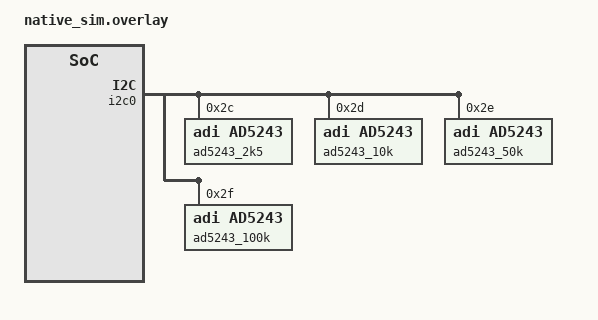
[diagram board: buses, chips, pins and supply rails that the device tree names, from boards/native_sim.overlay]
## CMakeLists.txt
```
# Copyright (c) 2026 Analog Devices Inc.
# SPDX-License-Identifier: Apache-2.0

cmake_minimum_required(VERSION 3.20.0)

find_package(Zephyr REQUIRED HINTS $ENV{ZEPHYR_BASE})
project(ad524x)

target_sources(app PRIVATE src/main.c src/ad524x_emul.c)
```

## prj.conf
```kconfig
CONFIG_ZTEST=y
CONFIG_DAC=y
CONFIG_I2C=y
CONFIG_EMUL=y
CONFIG_I2C_EMUL=y
CONFIG_LOG=y
CONFIG_DAC_LOG_LEVEL_DBG=y
CONFIG_ASSERT=y
```

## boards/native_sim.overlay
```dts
/*
 * Copyright (c) 2026 Analog Devices Inc.
 *
 * SPDX-License-Identifier: Apache-2.0
 */

#include <zephyr/dt-bindings/dac/ad524x.h>

&i2c0 {
	status = "okay";

	ad5243_2k5: ad5243@2c {
		compatible = "adi,ad5243";
		reg = <0x2c>;
		#io-channel-cells = <1>;
		max-resistance = <AD524X_RESISTANCE_2K5>;
		status = "okay";
	};

	ad5243_10k: ad5243@2d {
		compatible = "adi,ad5243";
		reg = <0x2d>;
		#io-channel-cells = <1>;
		max-resistance = <AD524X_RESISTANCE_10K>;
		status = "okay";
	};

	ad5243_50k: ad5243@2e {
		compatible = "adi,ad5243";
		reg = <0x2e>;
		#io-channel-cells = <1>;
		max-resistance = <AD524X_RESISTANCE_50K>;
		status = "okay";
	};

	ad5243_100k: ad5243@2f {
		compatible = "adi,ad5243";
		reg = <0x2f>;
		#io-channel-cells = <1>;
		max-resistance = <AD524X_RESISTANCE_100K>;
		status = "okay";
	};
};
```

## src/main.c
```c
/*
 * Copyright (c) 2026 Analog Devices Inc.
 *
 * SPDX-License-Identifier: Apache-2.0
 *
 * Tests for the AD5243/AD5248 digital potentiometer driver. The driver takes a
 * target wiper resistance in ohms and converts it to an 8-bit wiper code using
 *
 *   code = round((target - R_W) * 256 / R_AB),  clamped to [0, 255]
 *
 * where R_W is the fixed wiper resistance (320 ohms) and R_AB is the device
 * end-to-end resistance. The realized resistance is
 *
 *   R_WB = code / 256 * R_AB + R_W
 *
 * These tests drive the public DAC API and read the captured code back from the
 * emulator to check that each channel reaches the requested resistance to within
 * half a least-significant bit across the full 8-bit range and all four R_AB
 * variants.
 */

#include <zephyr/device.h>
#include <zephyr/drivers/dac.h>
#include <zephyr/drivers/dac/ad524x.h>
#include <zephyr/drivers/emul.h>
#include <zephyr/ztest.h>

#include "ad524x_emul.h"

/* Mirrors the driver's fixed wiper resistance and code range. */
#define AD524X_WIPER_OHM  320U
#define AD524X_STEPS      256U
#define AD524X_CODE_MAX   255U
#define AD524X_RESOLUTION 8U

struct ad524x_variant {
	const char *name;
	const struct device *dev;
	const struct emul *emul;
	uint32_t rab_ohm;
};

#define AD524X_VARIANT(nodelabel, rab)                                                              \
	{                                                                                          \
		.name = #nodelabel,                                                                 \
		.dev = DEVICE_DT_GET(DT_NODELABEL(nodelabel)),                                      \
		.emul = EMUL_DT_GET(DT_NODELABEL(nodelabel)),                                       \
		.rab_ohm = (rab),                                                                   \
	}

static struct ad524x_variant variants[] = {
	AD524X_VARIANT(ad5243_2k5, 2500U),
	AD524X_VARIANT(ad5243_10k, 10000U),
	AD524X_VARIANT(ad5243_50k, 50000U),
	AD524X_VARIANT(ad5243_100k, 100000U),
};

/* Reference conversion, computed independently of the driver. */
static uint8_t expected_code(uint32_t rab_ohm, uint32_t target_ohm)
{
	uint32_t code;

	if (target_ohm < AD524X_WIPER_OHM) {
		target_ohm = AD524X_WIPER_OHM;
	}

	code = (uint32_t)(((uint64_t)(target_ohm - AD524X_WIPER_OHM) * AD524X_STEPS + rab_ohm / 2) /
			  rab_ohm);

	return (uint8_t)MIN(code, AD524X_CODE_MAX);
}

/* Realized wiper-to-terminal-B resistance for a given code. */
static uint32_t code_to_ohm(uint32_t rab_ohm, uint8_t code)
{
	return (uint32_t)(((uint64_t)code * rab_ohm) / AD524X_STEPS) + AD524X_WIPER_OHM;
}

static void *ad524x_setup(void)
{
	for (size_t i = 0; i < ARRAY_SIZE(variants); i++) {
		zassert_true(device_is_ready(variants[i].dev), "%s not ready",
			     variants[i].name);
	}

	return NULL;
}

/* Every variant must be configurable on both channels at 8-bit resolution. */
ZTEST(ad524x, test_channel_setup)
{
	for (size_t i = 0; i < ARRAY_SIZE(variants); i++) {
		for (uint8_t ch = 1; ch <= 2; ch++) {
			struct dac_channel_cfg cfg = {
				.channel_id = ch,
				.resolution = AD524X_RESOLUTION,
			};
			int ret = dac_channel_setup(variants[i].dev, &cfg);

			zassert_ok(ret, "%s ch%u setup failed (%d)", variants[i].name, ch, ret);
		}
	}
}

/* A non-8-bit resolution must be rejected. */
ZTEST(ad524x, test_channel_setup_bad_resolution)
{
	struct dac_channel_cfg cfg = {
		.channel_id = 1,
		.resolution = 12,
	};

	zassert_equal(dac_channel_setup(variants[0].dev, &cfg), -EINVAL,
		      "non-8-bit resolution should be rejected");
}

/* Channel ids outside [1, 2] must be rejected by both API entry points. */
ZTEST(ad524x, test_invalid_channel)
{
	const struct device *dev = variants[0].dev;
	struct dac_channel_cfg cfg = {
		.channel_id = 0,
		.resolution = AD524X_RESOLUTION,
	};

	zassert_equal(dac_channel_setup(dev, &cfg), -EINVAL, "channel 0 setup should fail");

	cfg.channel_id = 3;
	zassert_equal(dac_channel_setup(dev, &cfg), -EINVAL, "channel 3 setup should fail");

	zassert_equal(dac_write_value(dev, 0, 1000), -EINVAL, "channel 0 write should fail");
	zassert_equal(dac_write_value(dev, 3, 1000), -EINVAL, "channel 3 write should fail");
}

/*
 * The core accuracy check: sweep a set of target resistances spanning each
 * variant's range and confirm the driver programs the nearest 8-bit code and
 * lands within half an LSB of the request.
 */
ZTEST(ad524x, test_resistance_accuracy)
{
	for (size_t i = 0; i < ARRAY_SIZE(variants); i++) {
		const struct ad524x_variant *v = &variants[i];
		/* Half an LSB in ohms, rounded up, is the worst-case quantization error. */
		uint32_t half_lsb = DIV_ROUND_UP(v->rab_ohm, 2U * AD524X_STEPS);
		/*
		 * Full-scale R_AB would need code 256, which the 8-bit range cannot
		 * reach, so the sweep spans only the achievable window
		 * [R_W, R_W + 255/256 * R_AB]. Out-of-range targets are covered by
		 * test_saturation.
		 */
		uint32_t span_ohm = code_to_ohm(v->rab_ohm, AD524X_CODE_MAX) - AD524X_WIPER_OHM;

		/* Ten evenly spaced targets across the achievable window. */
		for (uint32_t step = 0; step <= 10U; step++) {
			uint32_t target = AD524X_WIPER_OHM + (span_ohm * step) / 10U;
			uint8_t want = expected_code(v->rab_ohm, target);
			uint8_t got;
			uint32_t realized;
			int ret;

			ret = dac_write_value(v->dev, 1, target);
			zassert_ok(ret, "%s write %u ohm failed (%d)", v->name, target, ret);

			ret = ad524x_emul_get_code(v->emul, 1, &got);
			zassert_ok(ret, "%s code read failed (%d)", v->name, ret);
			zassert_equal(got, want, "%s target %u ohm: code %u, expected %u",
				      v->name, target, got, want);

			realized = code_to_ohm(v->rab_ohm, got);
			zassert_true(realized <= target + half_lsb &&
					     target <= realized + half_lsb,
				     "%s target %u ohm: realized %u ohm exceeds half-LSB %u",
				     v->name, target, realized, half_lsb);
		}
	}
}

/* Every code from 0 to 255 must be reachable by requesting its nominal resistance. */
ZTEST(ad524x, test_full_code_range)
{
	for (size_t i = 0; i < ARRAY_SIZE(variants); i++) {
		const struct ad524x_variant *v = &variants[i];

		for (uint32_t code = 0; code <= AD524X_CODE_MAX; code++) {
			uint32_t target = code_to_ohm(v->rab_ohm, (uint8_t)code);
			uint8_t got;
			int ret;

			ret = dac_write_value(v->dev, 2, target);
			zassert_ok(ret, "%s write code %u failed (%d)", v->name, code, ret);

			ret = ad524x_emul_get_code(v->emul, 2, &got);
			zassert_ok(ret, "%s code read failed (%d)", v->name, ret);
			zassert_equal(got, (uint8_t)code,
				      "%s nominal %u ohm: code %u, expected %u", v->name, target,
				      got, code);
		}
	}
}

/* Requests below the wiper floor clamp to code 0; requests above R_AB clamp to 255. */
ZTEST(ad524x, test_saturation)
{
	for (size_t i = 0; i < ARRAY_SIZE(variants); i++) {
		const struct ad524x_variant *v = &variants[i];
		uint8_t got;
		int ret;

		/* Below the 320 ohm wiper floor -> minimum code. */
		ret = dac_write_value(v->dev, 1, 0);
		zassert_ok(ret, "%s write 0 ohm failed (%d)", v->name, ret);
		ret = ad524x_emul_get_code(v->emul, 1, &got);
		zassert_ok(ret, "%s code read failed (%d)", v->name, ret);
		zassert_equal(got, 0, "%s below floor: code %u, expected 0", v->name, got);

		/* Well above end-to-end resistance -> maximum code. */
		ret = dac_write_value(v->dev, 1, v->rab_ohm * 2U);
		zassert_ok(ret, "%s write over-range failed (%d)", v->name, ret);
		ret = ad524x_emul_get_code(v->emul, 1, &got);
		zassert_ok(ret, "%s code read failed (%d)", v->name, ret);
		zassert_equal(got, AD524X_CODE_MAX, "%s over-range: code %u, expected %u",
			      v->name, got, AD524X_CODE_MAX);
	}
}

/* The two channels must be programmable independently. */
ZTEST(ad524x, test_channels_independent)
{
	const struct ad524x_variant *v = &variants[1]; /* 10k */
	uint32_t target_ch1 = v->rab_ohm / 4U + AD524X_WIPER_OHM;
	uint32_t target_ch2 = (3U * v->rab_ohm) / 4U + AD524X_WIPER_OHM;
	uint8_t code1, code2;

	zassert_ok(dac_write_value(v->dev, 1, target_ch1), "ch1 write failed");
	zassert_ok(dac_write_value(v->dev, 2, target_ch2), "ch2 write failed");

	zassert_ok(ad524x_emul_get_code(v->emul, 1, &code1), "ch1 read failed");
	zassert_ok(ad524x_emul_get_code(v->emul, 2, &code2), "ch2 read failed");

	zassert_equal(code1, expected_code(v->rab_ohm, target_ch1), "ch1 code mismatch");
	zassert_equal(code2, expected_code(v->rab_ohm, target_ch2), "ch2 code mismatch");
	zassert_not_equal(code1, code2, "channels should hold distinct codes");
}

/* Enabling and disabling shutdown sets and clears the device-wide shutdown bit. */
ZTEST(ad524x, test_shutdown_toggle)
{
	const struct ad524x_variant *v = &variants[1]; /* 10k */
	bool shutdown;

	zassert_ok(dac_ad524x_shutdown(v->dev, true), "enter shutdown failed");
	zassert_ok(ad524x_emul_get_shutdown(v->emul, &shutdown), "shutdown read failed");
	zassert_true(shutdown, "shutdown bit not set");

	zassert_ok(dac_ad524x_shutdown(v->dev, false), "leave shutdown failed");
	zassert_ok(ad524x_emul_get_shutdown(v->emul, &shutdown), "shutdown read failed");
	zassert_false(shutdown, "shutdown bit not cleared");
}

/* Shutdown must preserve the programmed wiper codes on both channels. */
ZTEST(ad524x, test_shutdown_preserves_code)
{
	const struct ad524x_variant *v = &variants[2]; /* 50k */
	uint32_t target1 = v->rab_ohm / 3U + AD524X_WIPER_OHM;
	uint32_t target2 = (2U * v->rab_ohm) / 3U + AD524X_WIPER_OHM;
	uint8_t want1 = expected_code(v->rab_ohm, target1);
	uint8_t want2 = expected_code(v->rab_ohm, target2);
	uint8_t got1, got2;

	zassert_ok(dac_write_value(v->dev, 1, target1), "ch1 write failed");
	zassert_ok(dac_write_value(v->dev, 2, target2), "ch2 write failed");

	zassert_ok(dac_ad524x_shutdown(v->dev, true), "enter shutdown failed");
	zassert_ok(ad524x_emul_get_code(v->emul, 1, &got1), "ch1 code read failed");
	zassert_ok(ad524x_emul_get_code(v->emul, 2, &got2), "ch2 code read failed");
	zassert_equal(got1, want1, "shutdown changed ch1 code: got %u, expected %u", got1, want1);
	zassert_equal(got2, want2, "shutdown changed ch2 code: got %u, expected %u", got2, want2);

	zassert_ok(dac_ad524x_shutdown(v->dev, false), "leave shutdown failed");
	zassert_ok(ad524x_emul_get_code(v->emul, 1, &got1), "ch1 code read failed");
	zassert_ok(ad524x_emul_get_code(v->emul, 2, &got2), "ch2 code read failed");
	zassert_equal(got1, want1, "resume changed ch1 code: got %u, expected %u", got1, want1);
	zassert_equal(got2, want2, "resume changed ch2 code: got %u, expected %u", got2, want2);
}

/* The readback API returns the code programmed through dac_write_value(). */
ZTEST(ad524x, test_read_value)
{
	for (size_t i = 0; i < ARRAY_SIZE(variants); i++) {
		const struct ad524x_variant *v = &variants[i];

		for (uint8_t ch = 1; ch <= 2; ch++) {
			uint32_t target = (v->rab_ohm * ch) / 3U + AD524X_WIPER_OHM;
			uint8_t want = expected_code(v->rab_ohm, target);
			uint8_t code;
			int ret;

			zassert_ok(dac_write_value(v->dev, ch, target),
				   "%s ch%u write failed", v->name, ch);

			ret = dac_ad524x_read_value(v->dev, ch, &code);
			zassert_ok(ret, "%s ch%u readback failed (%d)", v->name, ch, ret);
			zassert_equal(code, want, "%s ch%u readback %u, expected %u", v->name,
				      ch, code, want);
		}
	}
}

/* Readback returns the two channels' distinct codes independently. */
ZTEST(ad524x, test_read_value_independent)
{
	const struct ad524x_variant *v = &variants[3]; /* 100k */
	uint32_t target1 = v->rab_ohm / 4U + AD524X_WIPER_OHM;
	uint32_t target2 = (3U * v->rab_ohm) / 4U + AD524X_WIPER_OHM;
	uint8_t code1, code2;

	zassert_ok(dac_write_value(v->dev, 1, target1), "ch1 write failed");
	zassert_ok(dac_write_value(v->dev, 2, target2), "ch2 write failed");

	zassert_ok(dac_ad524x_read_value(v->dev, 1, &code1), "ch1 readback failed");
	zassert_ok(dac_ad524x_read_value(v->dev, 2, &code2), "ch2 readback failed");

	zassert_equal(code1, expected_code(v->rab_ohm, target1), "ch1 readback mismatch");
	zassert_equal(code2, expected_code(v->rab_ohm, target2), "ch2 readback mismatch");
	zassert_not_equal(code1, code2, "channels should read back distinct codes");
}

/* The readback API rejects invalid channels and a NULL destination. */
ZTEST(ad524x, test_read_value_invalid)
{
	const struct device *dev = variants[0].dev;
	uint8_t code;

	zassert_equal(dac_ad524x_read_value(dev, 0, &code), -EINVAL, "channel 0 should fail");
	zassert_equal(dac_ad524x_read_value(dev, 3, &code), -EINVAL, "channel 3 should fail");
	zassert_equal(dac_ad524x_read_value(dev, 1, NULL), -EINVAL, "NULL code should fail");
}

ZTEST_SUITE(ad524x, NULL, ad524x_setup, NULL, NULL, NULL);
```

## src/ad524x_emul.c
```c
/*
 * Copyright (c) 2026 Analog Devices Inc.
 *
 * SPDX-License-Identifier: Apache-2.0
 *
 * Minimal I2C emulator for the AD5243/AD5248 digital potentiometer. It stores the
 * 8-bit wiper code per channel, tracks the device-wide shutdown state, and models
 * the readback protocol: a read returns the code of the most recently addressed
 * channel.
 */

#include <errno.h>
#include <zephyr/device.h>
#include <zephyr/drivers/emul.h>
#include <zephyr/drivers/i2c.h>
#include <zephyr/drivers/i2c_emul.h>
#include <zephyr/logging/log.h>
#include <zephyr/sys/util.h>

#include "ad524x_emul.h"

LOG_MODULE_REGISTER(ad524x_emul, CONFIG_DAC_LOG_LEVEL);

/* Instruction byte layout, mirrored from the driver. */
#define AD524X_EMUL_CHANNEL_BIT  BIT(7)
#define AD524X_EMUL_SHUTDOWN_BIT BIT(6)

struct ad524x_emul_data {
	/* Wiper code, indexed by channel (0 -> ch1, 1 -> ch2). */
	uint8_t code[AD524X_EMUL_NUM_CHANNELS];
	/* Channel addressed by the most recent instruction byte (0 or 1). */
	uint8_t targeted;
	/* Device-wide shutdown state. */
	bool shutdown;
};

int ad524x_emul_get_code(const struct emul *target, uint8_t channel, uint8_t *code)
{
	struct ad524x_emul_data *data = target->data;

	if (code == NULL || channel < 1 || channel > AD524X_EMUL_NUM_CHANNELS) {
		return -EINVAL;
	}

	*code = data->code[channel - 1];

	return 0;
}

int ad524x_emul_get_shutdown(const struct emul *target, bool *shutdown)
{
	struct ad524x_emul_data *data = target->data;

	if (shutdown == NULL) {
		return -EINVAL;
	}

	*shutdown = data->shutdown;

	return 0;
}

static int ad524x_emul_transfer(const struct emul *target, struct i2c_msg *msgs, int num_msgs,
				int addr)
{
	struct ad524x_emul_data *data = target->data;
	uint8_t instruction;

	ARG_UNUSED(addr);

	i2c_dump_msgs_rw(target->dev, msgs, num_msgs, addr, false);

	/* The driver issues one message per transfer: a 1- or 2-byte write, or a
	 * single-byte read.
	 */
	if (num_msgs != 1) {
		LOG_ERR("unexpected message count: %d", num_msgs);
		return -EIO;
	}

	if ((msgs[0].flags & I2C_MSG_READ) != 0) {
		/* Readback: return the code of the most recently addressed channel. */
		if (msgs[0].len != 1) {
			LOG_ERR("unexpected read length: %u", msgs[0].len);
			return -EIO;
		}

		msgs[0].buf[0] = data->code[data->targeted];
		LOG_DBG("read channel %u -> code %u", data->targeted + 1, msgs[0].buf[0]);

		return 0;
	}

	if (msgs[0].len < 1 || msgs[0].len > 2) {
		LOG_ERR("unexpected write length: %u", msgs[0].len);
		return -EIO;
	}

	instruction = msgs[0].buf[0];
	data->targeted = FIELD_GET(AD524X_EMUL_CHANNEL_BIT, instruction);
	data->shutdown = (FIELD_GET(AD524X_EMUL_SHUTDOWN_BIT, instruction) != 0);

	if (msgs[0].len == 2) {
		/* [instruction][code] updates the addressed channel's wiper. */
		data->code[data->targeted] = msgs[0].buf[1];
		LOG_DBG("channel %u <- code %u, shutdown %u", data->targeted + 1,
			msgs[0].buf[1], data->shutdown);
	} else {
		/* Data-less instruction (channel select / shutdown command). */
		LOG_DBG("target channel %u, shutdown %u", data->targeted + 1, data->shutdown);
	}

	return 0;
}

static int ad524x_emul_init(const struct emul *target, const struct device *parent)
{
	struct ad524x_emul_data *data = target->data;

	ARG_UNUSED(parent);

	for (size_t i = 0; i < AD524X_EMUL_NUM_CHANNELS; i++) {
		data->code[i] = 0;
	}
	data->targeted = 0;
	data->shutdown = false;

	return 0;
}

static const struct i2c_emul_api ad524x_emul_api_i2c = {
	.transfer = ad524x_emul_transfer,
};

#define AD524X_EMUL_DEFINE(inst)                                                                    \
	static struct ad524x_emul_data ad524x_emul_data_##inst;                                     \
	EMUL_DT_INST_DEFINE(inst, ad524x_emul_init, &ad524x_emul_data_##inst, NULL,                 \
			    &ad524x_emul_api_i2c, NULL)

#define DT_DRV_COMPAT adi_ad5243
DT_INST_FOREACH_STATUS_OKAY(AD524X_EMUL_DEFINE)
#undef DT_DRV_COMPAT

#define DT_DRV_COMPAT adi_ad5248
DT_INST_FOREACH_STATUS_OKAY(AD524X_EMUL_DEFINE)
#undef DT_DRV_COMPAT
```

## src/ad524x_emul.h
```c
/*
 * Copyright (c) 2026 Analog Devices Inc.
 *
 * SPDX-License-Identifier: Apache-2.0
 */

#ifndef TESTS_DRIVERS_DAC_AD524X_EMUL_H_
#define TESTS_DRIVERS_DAC_AD524X_EMUL_H_

#include <stdbool.h>
#include <stdint.h>
#include <zephyr/drivers/emul.h>

/* Number of wiper channels on the AD524x family. */
#define AD524X_EMUL_NUM_CHANNELS 2U

/**
 * @brief Read back the 8-bit wiper code stored for a channel.
 *
 * This inspects the emulator state directly, independent of the device's
 * instruction-then-read readback protocol.
 *
 * @param target  Emulator instance.
 * @param channel Channel identifier (1 or 2).
 * @param code    Destination for the stored wiper code.
 *
 * @retval 0       On success.
 * @retval -EINVAL Invalid channel or NULL destination.
 */
int ad524x_emul_get_code(const struct emul *target, uint8_t channel, uint8_t *code);

/**
 * @brief Read back the device-wide shutdown state last captured.
 *
 * @param target   Emulator instance.
 * @param shutdown Destination for the captured shutdown state.
 *
 * @retval 0       On success.
 * @retval -EINVAL NULL destination.
 */
int ad524x_emul_get_shutdown(const struct emul *target, bool *shutdown);

#endif /* TESTS_DRIVERS_DAC_AD524X_EMUL_H_ */
```
